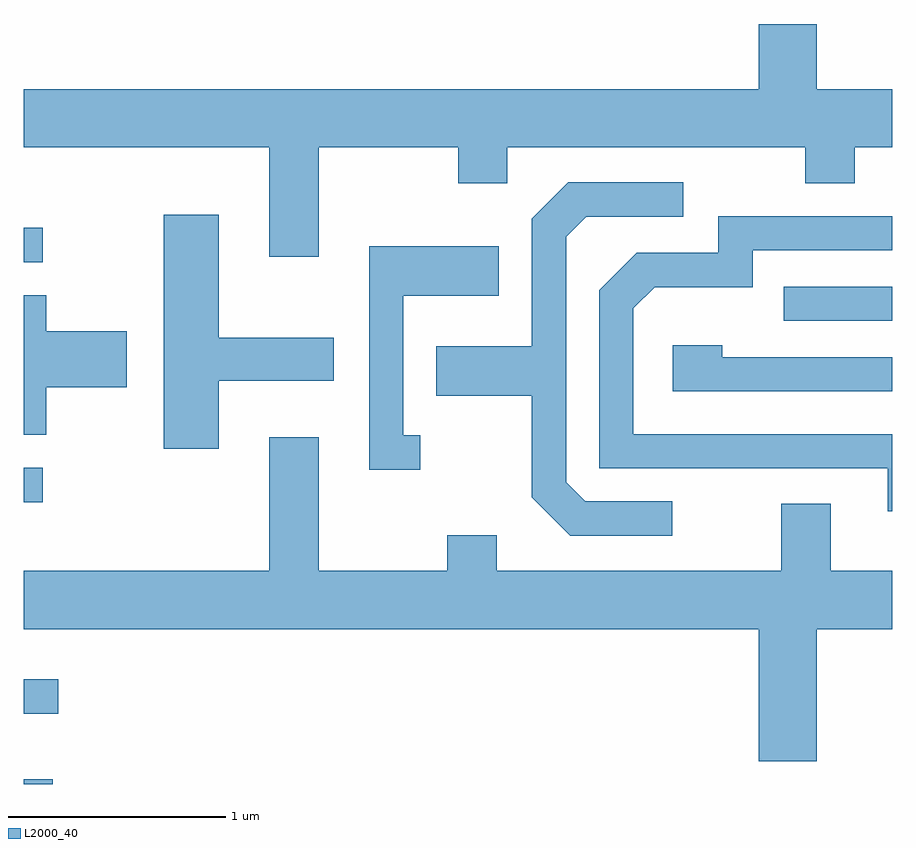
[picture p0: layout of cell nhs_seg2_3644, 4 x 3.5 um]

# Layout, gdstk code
import gdstk
lib = gdstk.Library(unit=1e-6, precision=1e-09)
def R(c, l, rs):  # rectangles x0, y0, x1, y1
    for r in rs: c.add(gdstk.rectangle(r[:2], r[2:], *l))
def P(c, l, *ps):  # polygons
    for p in ps: c.add(gdstk.Polygon(p, *l))
L2000_40 = (2000, 40)

nhs_seg2_3644 = lib.new_cell('nhs_seg2_3644')
R(nhs_seg2_3644, L2000_40, [(291.611,1069.802,291.744,1069.824), (291.611,1070.126,291.768,1070.284), (291.611,1071.101,291.698,1071.259), (295.113,1071.936,295.611,1072.094), (291.611,1072.206,291.698,1072.364)])
P(nhs_seg2_3644, L2000_40, [(292.969,1072.736),(293.611,1072.736),(293.611,1072.571),(293.839,1072.571),(293.839,1072.736),(295.211,1072.736),(295.211,1072.571),(295.439,1072.571),(295.439,1072.736),(295.611,1072.736),(295.611,1073.004),(295.264,1073.004),(295.264,1073.304),(294.996,1073.304),(294.996,1073.004),(291.611,1073.004),(291.611,1072.736),(292.741,1072.736),(292.741,1072.231),(292.969,1072.231)],
  [(294.598,1071.104),(294.197,1071.104),(294.109,1071.192),(294.109,1072.324),(294.202,1072.416),(294.648,1072.416),(294.648,1072.574),(294.119,1072.574),(293.951,1072.407),(293.951,1071.819),(293.511,1071.819),(293.511,1071.591),(293.951,1071.591),(293.951,1071.124),(294.129,1070.946),(294.598,1070.946)],
  [(292.509,1071.661),(293.039,1071.661),(293.039,1071.859),(292.509,1071.859),(292.509,1072.424),(292.256,1072.424),(292.256,1071.346),(292.509,1071.346)],
  [(295.611,1071.414),(294.419,1071.414),(294.419,1071.994),(294.517,1072.091),(294.969,1072.091),(294.969,1072.261),(295.611,1072.261),(295.611,1072.419),(294.811,1072.419),(294.811,1072.249),(294.434,1072.249),(294.261,1072.077),(294.261,1071.256),(295.591,1071.256),(295.591,1071.058),(295.611,1071.058)],
  [(293.438,1071.409),(293.359,1071.409),(293.359,1072.051),(293.799,1072.051),(293.799,1072.279),(293.201,1072.279),(293.201,1071.251),(293.438,1071.251)],
  [(291.714,1071.631),(292.084,1071.631),(292.084,1071.889),(291.714,1071.889),(291.714,1072.054),(291.611,1072.054),(291.611,1071.411),(291.714,1071.411)],
  [(295.611,1071.769),(294.829,1071.769),(294.829,1071.824),(294.601,1071.824),(294.601,1071.611),(295.611,1071.611)],
  [(295.101,1070.784),(293.789,1070.784),(293.789,1070.949),(293.561,1070.949),(293.561,1070.784),(292.969,1070.784),(292.969,1071.399),(292.741,1071.399),(292.741,1070.784),(291.611,1070.784),(291.611,1070.516),(294.996,1070.516),(294.996,1069.906),(295.264,1069.906),(295.264,1070.516),(295.611,1070.516),(295.611,1070.784),(295.329,1070.784),(295.329,1071.094),(295.101,1071.094)])

lib.write_gds('nhs_seg2_3644.gds')
